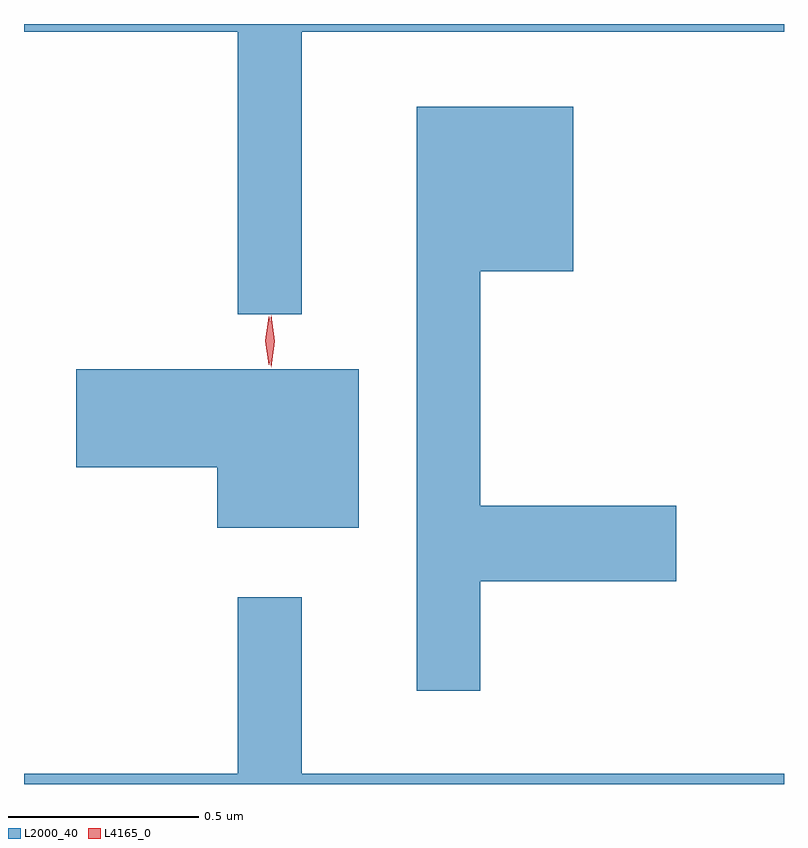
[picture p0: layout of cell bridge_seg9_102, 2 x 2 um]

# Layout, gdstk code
import gdstk
lib = gdstk.Library(unit=1e-6, precision=1e-09)
def P(c, l, *ps):  # polygons
    for p in ps: c.add(gdstk.Polygon(p, *l))
L2000_40 = (2000, 40)
L4165_0 = (4165, 0)

bridge_seg9_102 = lib.new_cell('bridge_seg9_102')
P(bridge_seg9_102, L2000_40, [(1705.139,1994.036),(1706.408,1994.036),(1706.408,1994.057),(1704.408,1994.057),(1704.408,1994.036),(1704.971,1994.036),(1704.971,1993.293),(1705.139,1993.293)],
  [(1705.609,1992.591),(1706.124,1992.591),(1706.124,1992.789),(1705.609,1992.789),(1705.609,1993.406),(1705.854,1993.406),(1705.854,1993.839),(1705.441,1993.839),(1705.441,1992.303),(1705.609,1992.303)],
  [(1705.289,1993.149),(1704.546,1993.149),(1704.546,1992.891),(1704.916,1992.891),(1704.916,1992.731),(1705.289,1992.731)],
  [(1706.408,1992.084),(1705.139,1992.084),(1705.139,1992.548),(1704.971,1992.548),(1704.971,1992.084),(1704.408,1992.084),(1704.408,1992.057),(1706.408,1992.057)])
P(bridge_seg9_102, L4165_0, [(1705.058,1993.154),(1705.049,1993.222),(1705.058,1993.29),(1705.058,1993.29),(1705.059,1993.29),(1705.068,1993.222),(1705.059,1993.154),(1705.059,1993.154)],
  [(1705.052,1993.16),(1705.043,1993.223),(1705.052,1993.286),(1705.053,1993.287),(1705.053,1993.286),(1705.063,1993.223),(1705.053,1993.16),(1705.053,1993.16)])

lib.write_gds('bridge_seg9_102.gds')
